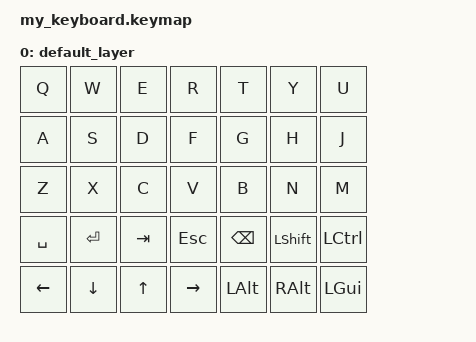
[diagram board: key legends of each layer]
#include <zmk/keymap.h>

/ {
    keymap {
        compatible = "zmk,keymap";

        default_layer {
            bindings = <&kp Q &kp W &kp E &kp R &kp T &kp Y &kp U>,
                       <&kp A &kp S &kp D &kp F &kp G &kp H &kp J>,
                       <&kp Z &kp X &kp C &kp V &kp B &kp N &kp M>,
                       <&kp SPACE &kp ENTER &kp TAB &kp ESC &kp BACKSPACE &kp LSHIFT &kp LCTRL>,
                       <&kp LEFT &kp DOWN &kp UP &kp RIGHT &kp LALT &kp RALT &kp LGUI>;
        };
    };
};
